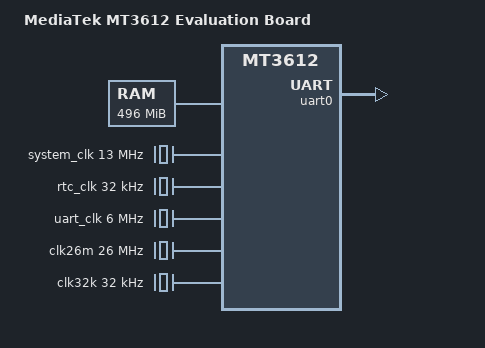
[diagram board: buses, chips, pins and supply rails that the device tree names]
/*
 * Copyright (c) 2015 MediaTek Inc.
 * Author: Evason Tsai <evason.tsai@mediatek.com>
 *
 * This program is free software; you can redistribute it and/or modify
 * it under the terms of the GNU General Public License version 2 as
 * published by the Free Software Foundation.
 *
 * This program is distributed in the hope that it will be useful,
 * but WITHOUT ANY WARRANTY; without even the implied warranty of
 * MERCHANTABILITY or FITNESS FOR A PARTICULAR PURPOSE.  See the
 * GNU General Public License for more details.
 */

/dts-v1/;
#include <dt-bindings/interrupt-controller/arm-gic.h>

/ {
	model = "MediaTek MT3612 Evaluation Board";
	compatible = "mediatek,mt3612-evb", "mediatek,mt3612";
	interrupt-parent = <&sysirq>;
	#address-cells = <2>;
	#size-cells = <2>;

	aliases {
		serial0 = &uart0;
	};

	memory@40000000 {
		device_type = "memory";
		reg = <0 0x40000000 0 0x1f000000>;
	};

	chosen {
		/*bootargs = "console=ttyS0,921600n1 initcall_debug=1 loglevel=8 androidboot.selinux=disabled"; */
		bootargs = "console=ttyS0,921600n1 root=/dev/ram earlycon=mtk8250,0x11020000,921600n8 loglevel=8";
		linux,stdout-path = "serial0";
		linux,initrd-start = <0x48000000>;
		linux,initrd-end = <0x4A000000>;
	};

	sram@5F000000 {
		compatible = "mtd-ram";
		reg = <0 0x5f000000 0 0x01000000>;
		bank-width = <2>;
		status = "okay";
	};

	psci_cfg: psci {
		compatible = "arm,psci";
		method = "smc";
		cpu_suspend   = <0x84000001>;
		cpu_off	      = <0x84000002>;
		cpu_on	      = <0x84000003>;
	};

	cpus_cfg: cpus {
		#address-cells = <1>;
		#size-cells = <0>;

		cpu-map {
			cluster0 {
				core0 {
					cpu = <&cpu0>;
				};
				core1 {
					cpu = <&cpu1>;
				};
			};
		};

		cpu0: cpu@0 {
			device_type = "cpu";
			compatible = "arm,cortex-a53";
			reg = <0x000>;
			enable-method = "psci";
		};

		cpu1: cpu@1 {
			device_type = "cpu";
			compatible = "arm,cortex-a53";
			enable-method = "psci";
			reg = <0x001>;
		};

	};

	system_clk: dummy13m {
		compatible = "fixed-clock";
		clock-frequency = <13000000>;
		#clock-cells = <0>;
	};

	rtc_clk: dummy32k {
		compatible = "fixed-clock";
		clock-frequency = <32000>;
		#clock-cells = <0>;
	};

	uart_clk: dummy26m {
		compatible = "fixed-clock";
		clock-frequency = <26000000>;
		#clock-cells = <0>;
	};

	arm_timer: timer {
		compatible = "arm,armv8-timer";
		interrupt-parent = <&gic>;
		interrupts = <GIC_PPI 13 (GIC_CPU_MASK_SIMPLE(4) | IRQ_TYPE_LEVEL_LOW)>, /*Secure Physical Timer Event*/
			<GIC_PPI 14 (GIC_CPU_MASK_SIMPLE(4) | IRQ_TYPE_LEVEL_LOW)>, /*Non-Secure Physical Timer Event*/
			<GIC_PPI 11 (GIC_CPU_MASK_SIMPLE(4) | IRQ_TYPE_LEVEL_LOW)>, /*Virtual Timer Event*/
			<GIC_PPI 10 (GIC_CPU_MASK_SIMPLE(4) | IRQ_TYPE_LEVEL_LOW)>; /*Hypervisor Timer Event*/
			clock-frequency = <13000000>;
	};

	soc {
		#address-cells = <2>;
		#size-cells = <2>;
		compatible = "simple-bus";
		ranges;



		sysirq: intpol-controller@10200620 {
			compatible = "mediatek,mt8173-sysirq",
				     "mediatek,mt6577-sysirq";
			interrupt-controller;
			#interrupt-cells = <3>;
			interrupt-parent = <&gic>;
			reg = <0 0x10200A80 0 0x001000>;
		};

		gic: interrupt-controller@0c000000 {
			compatible = "arm,gic-v3";
			#interrupt-cells = <3>;
			#address-cells = <2>;
			#size-cells = <2>;
			#redistributor-regions = <1>;
			interrupt-parent = <&gic>;
			interrupt-controller;
			reg = <0 0x0c000000 0 0x40000>,
			      <0 0x0c080000 0 0x200000>;
			interrupts = <GIC_PPI 9 (GIC_CPU_MASK_SIMPLE(4) | IRQ_TYPE_LEVEL_HIGH)>;
		};

		uart0: serial@11020000 {
			compatible = "mediatek,mt3611-uart";
			reg = <0 0x11020000 0 0x400>;
			interrupts = <GIC_SPI 101 IRQ_TYPE_LEVEL_LOW>;
			clocks = <&uart_clk>;
			clock-names = "baud";
			status = "disabled";
		};

		clocks {
			clk_null: clk_null {
				compatible = "fixed-clock";
				#clock-cells = <0>;
				clock-frequency = <0>;
			};

			clk26m: clk26m {
				compatible = "fixed-clock";
				#clock-cells = <0>;
				clock-frequency = <26000000>;
			};

			clk32k: clk32k {
				compatible = "fixed-clock";
				#clock-cells = <0>;
				clock-frequency = <32000>;
			};
		};





	};
};


&psci_cfg{
	compatible	= "arm,SHELL ONLY";
};

&cpus_cfg{
	#address-cells = <1>;
	#size-cells = <0>;

	cpu0: cpu@0 {
		device_type = "cpu";
		compatible = "arm,cortex-a53";
		reg = <0x000>;
		enable-method = "psci";
	};

/*	cpu1: cpu@1 {
		device_type = "cpu";
		compatible = "arm,cortex-a53";
		reg = <0x001>;
		enable-method = "psci";
	};
*/
};

&uart_clk{
	clock-frequency = <6000000>;
};


&arm_timer {
	clock-frequency = <6000000>;
};

&uart0 {
	clocks = <&uart_clk>;
	status = "okay";
};
